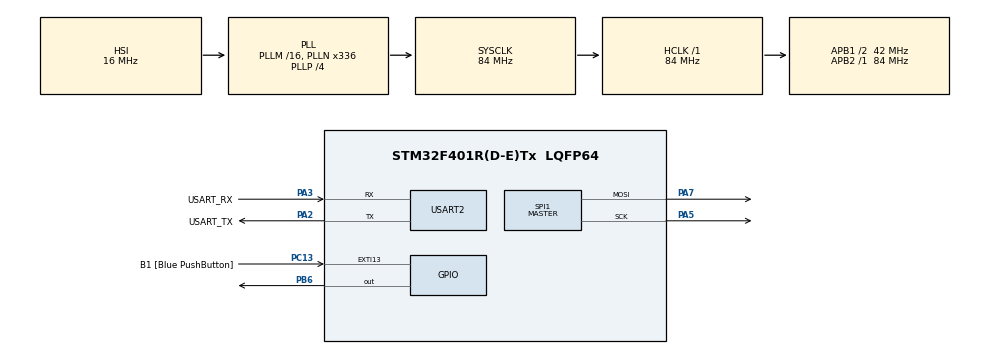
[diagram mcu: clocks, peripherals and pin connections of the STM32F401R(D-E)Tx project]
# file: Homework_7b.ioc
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Dma.Request0=SPI1_TX
Dma.SPI1_TX.0.Direction=DMA_MEMORY_TO_PERIPH
Dma.SPI1_TX.0.FIFOMode=DMA_FIFOMODE_DISABLE
Dma.SPI1_TX.0.Instance=DMA2_Stream3
Dma.SPI1_TX.0.MemDataAlignment=DMA_MDATAALIGN_BYTE
Dma.SPI1_TX.0.MemInc=DMA_MINC_ENABLE
Dma.SPI1_TX.0.Mode=DMA_NORMAL
Dma.SPI1_TX.0.PeriphDataAlignment=DMA_PDATAALIGN_BYTE
Dma.SPI1_TX.0.PeriphInc=DMA_PINC_DISABLE
Dma.SPI1_TX.0.Priority=DMA_PRIORITY_LOW
Mcu.Family=STM32F4
Mcu.Name=STM32F401R(D-E)Tx
Mcu.Package=LQFP64
NVIC.DMA2_Stream3_IRQn=true\:0\:0\:false\:false\:true\:false\:true\:true
NVIC.PriorityGroup=NVIC_PRIORITYGROUP_0
NVIC.TIM2_IRQn=true\:0\:0\:false\:false\:true\:true\:true\:true
NVIC.TIM3_IRQn=true\:0\:0\:false\:false\:true\:true\:true\:true
PA13.GPIO_Label=TMS
PA13.Mode=Serial_Wire
PA13.Signal=SYS_JTMS-SWDIO
PA14.GPIO_Label=TCK
PA14.Mode=Serial_Wire
PA14.Signal=SYS_JTCK-SWCLK
PA2.GPIO_Label=USART_TX
PA2.GPIO_Mode=GPIO_MODE_AF_PP
PA2.GPIO_PuPd=GPIO_NOPULL
PA2.GPIO_Speed=GPIO_SPEED_FREQ_LOW
PA2.Mode=Asynchronous
PA2.Signal=USART2_TX
PA3.GPIO_Label=USART_RX
PA3.GPIO_Mode=GPIO_MODE_AF_PP
PA3.GPIO_PuPd=GPIO_NOPULL
PA3.GPIO_Speed=GPIO_SPEED_FREQ_LOW
PA3.Mode=Asynchronous
PA3.Signal=USART2_RX
PA5.Mode=TX_Only_Simplex_Unidirect_Master
PA5.Signal=SPI1_SCK
PA6.Signal=SPI1_MISO
PA7.Mode=TX_Only_Simplex_Unidirect_Master
PA7.Signal=SPI1_MOSI
PB3.GPIO_Label=SWO
PB3.Signal=SYS_JTDO-SWO
PB6.Signal=GPIO_Output
PC13-ANTI_TAMP.GPIO_Label=B1 [Blue PushButton]
PC13-ANTI_TAMP.GPIO_ModeDefaultEXTI=GPIO_MODE_IT_FALLING
PC13-ANTI_TAMP.GPIO_PuPd=GPIO_NOPULL
PC13-ANTI_TAMP.Signal=GPXTI13
PC14-OSC32_IN.Mode=LSE-External-Oscillator
PC14-OSC32_IN.Signal=RCC_OSC32_IN
PC15-OSC32_OUT.Mode=LSE-External-Oscillator
PC15-OSC32_OUT.Signal=RCC_OSC32_OUT
PH0\ -\ OSC_IN.Mode=HSE-External-Clock-Source
PH0\ -\ OSC_IN.Signal=RCC_OSC_IN
PH1\ -\ OSC_OUT.Mode=HSE-External-Clock-Source
PH1\ -\ OSC_OUT.Signal=RCC_OSC_OUT
ProjectManager.HeapSize=0x200
ProjectManager.StackSize=0x400
ProjectManager.TargetToolchain=STM32CubeIDE
RCC.48MHZClocksFreq_Value=48000000
RCC.AHBFreq_Value=84000000
RCC.APB1CLKDivider=RCC_HCLK_DIV2
RCC.APB1Freq_Value=42000000
RCC.APB1TimFreq_Value=84000000
RCC.APB2Freq_Value=84000000
RCC.APB2TimFreq_Value=84000000
RCC.CortexFreq_Value=84000000
RCC.HCLKFreq_Value=84000000
RCC.HSE_VALUE=8000000
RCC.HSI_VALUE=16000000
RCC.PLLN=336
RCC.PLLP=RCC_PLLP_DIV4
RCC.PLLQ=7
RCC.SYSCLKFreq_VALUE=84000000
RCC.SYSCLKSource=RCC_SYSCLKSOURCE_PLLCLK
RCC.VCOOutputFreq_Value=336000000
SPI1.BaudRatePrescaler=SPI_BAUDRATEPRESCALER_4
SPI1.Direction=SPI_DIRECTION_2LINES
SPI1.Mode=SPI_MODE_MASTER
SPI1.VirtualType=VM_MASTER
TIM2.Period=40-1
TIM2.Prescaler=8400-1
TIM3.Period=10000-1
TIM3.Prescaler=8400-1
USART2.VirtualMode=VM_ASYNC
VP_TIM2_VS_ClockSourceINT.Mode=Internal
VP_TIM3_VS_ClockSourceINT.Mode=Internal
board=NUCLEO-F401RE

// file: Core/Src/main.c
/* USER CODE BEGIN Header */
/**
	******************************************************************************
	* @file           : main.c
	* @brief          : Main program body
	******************************************************************************
	* @attention
	*
	* Copyright (c) 2023 STMicroelectronics.
	* All rights reserved.
	*
	* This software is licensed under terms that can be found in the LICENSE file
	* in the root directory of this software component.
	* If no LICENSE file comes with this software, it is provided AS-IS.
	*
	******************************************************************************
	*/
/* USER CODE END Header */
#include "main.h"

/* USER CODE BEGIN PTD */
typedef struct {
		int column;
		int row;
} matrix;
/* USER CODE END PTD */

SPI_HandleTypeDef hspi1;
DMA_HandleTypeDef hdma_spi1_tx;

TIM_HandleTypeDef htim2;
TIM_HandleTypeDef htim3;

UART_HandleTypeDef huart2;

/* USER CODE BEGIN PV */
uint16_t buffer[5];
uint8_t position = 0;
uint8_t letter_switch = 0;
/* USER CODE END PV */

void SystemClock_Config(void);
static void MX_GPIO_Init(void);
static void MX_DMA_Init(void);
static void MX_USART2_UART_Init(void);
static void MX_SPI1_Init(void);
static void MX_TIM2_Init(void);
static void MX_TIM3_Init(void);

/* USER CODE BEGIN 0 */
void buffer_cpy(uint16_t *buffer, matrix *to_buffer) {
	// Place all elements in a buffer to be sent by SPI
	for (int i = 0; i < 5; i++) {
			buffer[i] = (uint16_t)((to_buffer[i].column << 8) | (to_buffer[i].row & 0xFF));
	}
}

void HAL_TIM_PeriodElapsedCallback(TIM_HandleTypeDef *htim){
	if (htim==&htim2){				//TIM2 sends the data to spi
		HAL_SPI_Transmit_DMA(&hspi1,(uint8_t*)&buffer[position], 2);
	} else if(htim==&htim3){		//TIM3 sets the switch flag of the letters(operation is executed in main)
		letter_switch = !letter_switch;
	}
}

void HAL_SPI_TxCpltCallback(SPI_HandleTypeDef *hspi){
	// Set & Reset the RCLK Pin
	HAL_GPIO_WritePin(GPIOB,GPIO_PIN_6, GPIO_PIN_SET);
	HAL_GPIO_WritePin(GPIOB,GPIO_PIN_6, GPIO_PIN_RESET);
	// Update position index
	if(++position >= 5)
		position = 0;
}
/* USER CODE END 0 */

int main(void)
{
	/* USER CODE BEGIN 1 */
	matrix letter_A[5] = {{16,31},{8,36},{4,68},{2,36},{1,31}};
	matrix letter_W[5] = {{16,126},{8,1},{4,14},{2,1},{1,126}};
	uint8_t temp_letter_switch = letter_switch;
	/* USER CODE END 1 */

	/* MCU Configuration--------------------------------------------------------*/

	/* Reset of all peripherals, Initializes the Flash interface and the Systick. */
	HAL_Init();

	/* Configure the system clock */
	SystemClock_Config();

	/* Initialize all configured peripherals */
	MX_GPIO_Init();
	MX_DMA_Init();
	MX_USART2_UART_Init();
	MX_SPI1_Init();
	MX_TIM2_Init();
	MX_TIM3_Init();
	/* USER CODE BEGIN 2 */

	// Initialize the buffer to one of the letters
	buffer_cpy(buffer, letter_W);

	// Start timers
	__HAL_TIM_CLEAR_FLAG(&htim2, TIM_FLAG_UPDATE);
	HAL_TIM_Base_Start_IT(&htim2);
	__HAL_TIM_CLEAR_FLAG(&htim3, TIM_FLAG_UPDATE);
	HAL_TIM_Base_Start_IT(&htim3);

	/* USER CODE END 2 */

	/* Infinite loop */
	/* USER CODE BEGIN WHILE */
	while (1)
	{
		// temp_letter_switch is a flag by triggering TIM3
		if (temp_letter_switch != letter_switch){
			// Pause the SPI transmission
			HAL_SPI_DMAPause(&hspi1);

			// Change the letter data in the buffer
			buffer_cpy(buffer, (letter_switch == 1) ? letter_A : letter_W);
			temp_letter_switch = letter_switch;
			position = 0;

			// Resume the SPI transmission
			HAL_SPI_DMAResume(&hspi1);
		}
		/* USER CODE END WHILE */
	}
}

void SystemClock_Config(void)
{
	RCC_OscInitTypeDef RCC_OscInitStruct = {0};
	RCC_ClkInitTypeDef RCC_ClkInitStruct = {0};

	/** Configure the main internal regulator output voltage
	*/
	__HAL_RCC_PWR_CLK_ENABLE();
	__HAL_PWR_VOLTAGESCALING_CONFIG(PWR_REGULATOR_VOLTAGE_SCALE2);

	/** Initializes the RCC Oscillators according to the specified parameters
	* in the RCC_OscInitTypeDef structure.
	*/
	RCC_OscInitStruct.OscillatorType = RCC_OSCILLATORTYPE_HSI;
	RCC_OscInitStruct.HSIState = RCC_HSI_ON;
	RCC_OscInitStruct.HSICalibrationValue = RCC_HSICALIBRATION_DEFAULT;
	RCC_OscInitStruct.PLL.PLLState = RCC_PLL_ON;
	RCC_OscInitStruct.PLL.PLLSource = RCC_PLLSOURCE_HSI;
	RCC_OscInitStruct.PLL.PLLM = 16;
	RCC_OscInitStruct.PLL.PLLN = 336;
	RCC_OscInitStruct.PLL.PLLP = RCC_PLLP_DIV4;
	RCC_OscInitStruct.PLL.PLLQ = 7;
	if (HAL_RCC_OscConfig(&RCC_OscInitStruct) != HAL_OK)
	{
		Error_Handler();
	}

	/** Initializes the CPU, AHB and APB buses clocks
	*/
	RCC_ClkInitStruct.ClockType = RCC_CLOCKTYPE_HCLK|RCC_CLOCKTYPE_SYSCLK
															|RCC_CLOCKTYPE_PCLK1|RCC_CLOCKTYPE_PCLK2;
	RCC_ClkInitStruct.SYSCLKSource = RCC_SYSCLKSOURCE_PLLCLK;
	RCC_ClkInitStruct.AHBCLKDivider = RCC_SYSCLK_DIV1;
	RCC_ClkInitStruct.APB1CLKDivider = RCC_HCLK_DIV2;
	RCC_ClkInitStruct.APB2CLKDivider = RCC_HCLK_DIV1;

	if (HAL_RCC_ClockConfig(&RCC_ClkInitStruct, FLASH_LATENCY_2) != HAL_OK)
	{
		Error_Handler();
	}
}

static void MX_SPI1_Init(void)
{

	/* SPI1 parameter configuration*/
	hspi1.Instance = SPI1;
	hspi1.Init.Mode = SPI_MODE_MASTER;
	hspi1.Init.Direction = SPI_DIRECTION_2LINES;
	hspi1.Init.DataSize = SPI_DATASIZE_8BIT;
	hspi1.Init.CLKPolarity = SPI_POLARITY_LOW;
	hspi1.Init.CLKPhase = SPI_PHASE_1EDGE;
	hspi1.Init.NSS = SPI_NSS_SOFT;
	hspi1.Init.BaudRatePrescaler = SPI_BAUDRATEPRESCALER_4;
	hspi1.Init.FirstBit = SPI_FIRSTBIT_MSB;
	hspi1.Init.TIMode = SPI_TIMODE_DISABLE;
	hspi1.Init.CRCCalculation = SPI_CRCCALCULATION_DISABLE;
	hspi1.Init.CRCPolynomial = 10;
	if (HAL_SPI_Init(&hspi1) != HAL_OK)
	{
		Error_Handler();
	}

}

static void MX_TIM2_Init(void)
{

	TIM_ClockConfigTypeDef sClockSourceConfig = {0};
	TIM_MasterConfigTypeDef sMasterConfig = {0};

	htim2.Instance = TIM2;
	htim2.Init.Prescaler = 8400-1;
	htim2.Init.CounterMode = TIM_COUNTERMODE_UP;
	htim2.Init.Period = 40-1;
	htim2.Init.ClockDivision = TIM_CLOCKDIVISION_DIV1;
	htim2.Init.AutoReloadPreload = TIM_AUTORELOAD_PRELOAD_DISABLE;
	if (HAL_TIM_Base_Init(&htim2) != HAL_OK)
	{
		Error_Handler();
	}
	sClockSourceConfig.ClockSource = TIM_CLOCKSOURCE_INTERNAL;
	if (HAL_TIM_ConfigClockSource(&htim2, &sClockSourceConfig) != HAL_OK)
	{
		Error_Handler();
	}
	sMasterConfig.MasterOutputTrigger = TIM_TRGO_RESET;
	sMasterConfig.MasterSlaveMode = TIM_MASTERSLAVEMODE_DISABLE;
	if (HAL_TIMEx_MasterConfigSynchronization(&htim2, &sMasterConfig) != HAL_OK)
	{
		Error_Handler();
	}

}

static void MX_TIM3_Init(void)
{

	TIM_ClockConfigTypeDef sClockSourceConfig = {0};
	TIM_MasterConfigTypeDef sMasterConfig = {0};

	htim3.Instance = TIM3;
	htim3.Init.Prescaler = 8400-1;
	htim3.Init.CounterMode = TIM_COUNTERMODE_UP;
	htim3.Init.Period = 10000-1;
	htim3.Init.ClockDivision = TIM_CLOCKDIVISION_DIV1;
	htim3.Init.AutoReloadPreload = TIM_AUTORELOAD_PRELOAD_DISABLE;
	if (HAL_TIM_Base_Init(&htim3) != HAL_OK)
	{
		Error_Handler();
	}
	sClockSourceConfig.ClockSource = TIM_CLOCKSOURCE_INTERNAL;
	if (HAL_TIM_ConfigClockSource(&htim3, &sClockSourceConfig) != HAL_OK)
	{
		Error_Handler();
	}
	sMasterConfig.MasterOutputTrigger = TIM_TRGO_RESET;
	sMasterConfig.MasterSlaveMode = TIM_MASTERSLAVEMODE_DISABLE;
	if (HAL_TIMEx_MasterConfigSynchronization(&htim3, &sMasterConfig) != HAL_OK)
	{
		Error_Handler();
	}

}

static void MX_USART2_UART_Init(void)
{

	huart2.Instance = USART2;
	huart2.Init.BaudRate = 115200;
	huart2.Init.WordLength = UART_WORDLENGTH_8B;
	huart2.Init.StopBits = UART_STOPBITS_1;
	huart2.Init.Parity = UART_PARITY_NONE;
	huart2.Init.Mode = UART_MODE_TX_RX;
	huart2.Init.HwFlowCtl = UART_HWCONTROL_NONE;
	huart2.Init.OverSampling = UART_OVERSAMPLING_16;
	if (HAL_UART_Init(&huart2) != HAL_OK)
	{
		Error_Handler();
	}

}

static void MX_DMA_Init(void)
{

	/* DMA controller clock enable */
	__HAL_RCC_DMA2_CLK_ENABLE();

	/* DMA interrupt init */
	/* DMA2_Stream3_IRQn interrupt configuration */
	HAL_NVIC_SetPriority(DMA2_Stream3_IRQn, 0, 0);
	HAL_NVIC_EnableIRQ(DMA2_Stream3_IRQn);

}

static void MX_GPIO_Init(void)
{
	GPIO_InitTypeDef GPIO_InitStruct = {0};

	/* GPIO Ports Clock Enable */
	__HAL_RCC_GPIOC_CLK_ENABLE();
	__HAL_RCC_GPIOH_CLK_ENABLE();
	__HAL_RCC_GPIOA_CLK_ENABLE();
	__HAL_RCC_GPIOB_CLK_ENABLE();

	/*Configure GPIO pin Output Level */
	HAL_GPIO_WritePin(GPIOB, GPIO_PIN_6, GPIO_PIN_RESET);

	/*Configure GPIO pin : B1_Pin */
	GPIO_InitStruct.Pin = B1_Pin;
	GPIO_InitStruct.Mode = GPIO_MODE_IT_FALLING;
	GPIO_InitStruct.Pull = GPIO_NOPULL;
	HAL_GPIO_Init(B1_GPIO_Port, &GPIO_InitStruct);

	/*Configure GPIO pin : PB6 */
	GPIO_InitStruct.Pin = GPIO_PIN_6;
	GPIO_InitStruct.Mode = GPIO_MODE_OUTPUT_PP;
	GPIO_InitStruct.Pull = GPIO_NOPULL;
	GPIO_InitStruct.Speed = GPIO_SPEED_FREQ_LOW;
	HAL_GPIO_Init(GPIOB, &GPIO_InitStruct);

}

void Error_Handler(void)
{
	__disable_irq();
	while (1)
	{
	}
}
